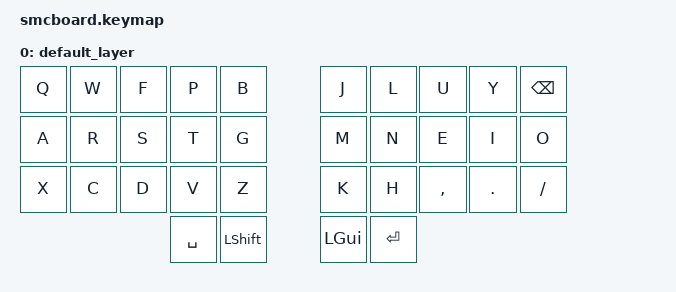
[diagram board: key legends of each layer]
#include <behaviors.dtsi>
#include <dt-bindings/zmk/keys.h>

/ {

    keymap {
        compatible = "zmk,keymap";

        // This is a sample keymap intended to be replaced with your own
        default_layer {
            bindings = <
                &kp Q     &kp W     &kp F     &kp P     &kp B     &kp J     &kp L     &kp U     &kp Y     &kp BSPC
                &kp A     &kp R     &kp S     &kp T     &kp G     &kp M     &kp N     &kp E     &kp I     &kp O
                &kp X     &kp C     &kp D     &kp V     &kp Z     &kp K     &kp H     &kp COMMA &kp DOT   &kp SLASH
                                              &kp SPACE &kp LSHIFT &kp LGUI  &kp RET
            >;
        };  

    };
};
